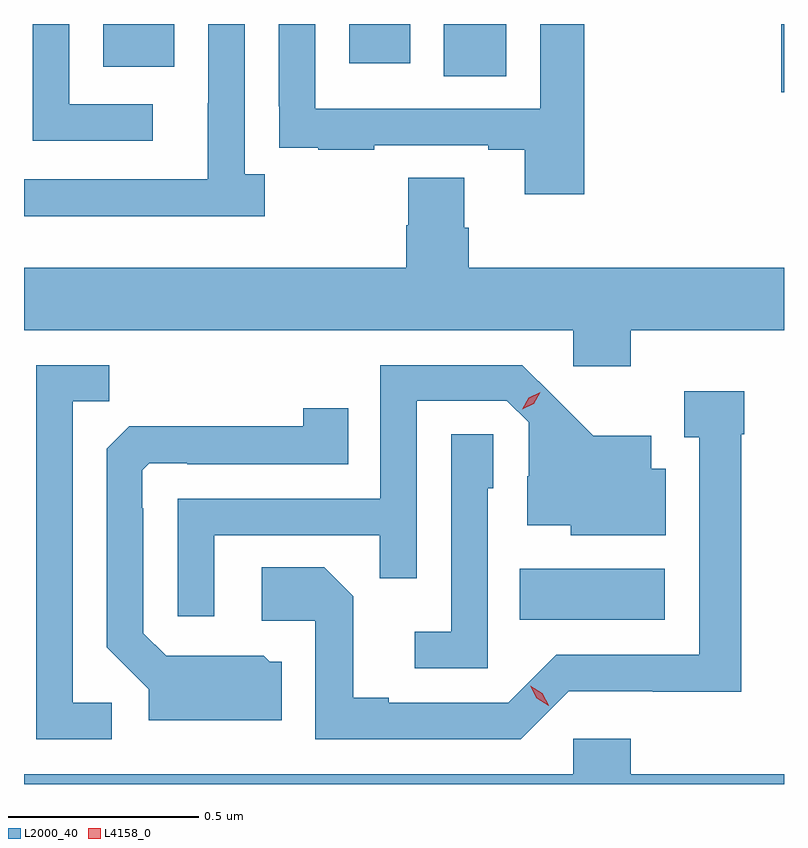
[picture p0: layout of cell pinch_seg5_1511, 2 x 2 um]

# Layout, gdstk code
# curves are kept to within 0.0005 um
import gdstk
lib = gdstk.Library(unit=1e-6, precision=1e-09)
def R(c, l, rs):  # rectangles x0, y0, x1, y1
    for r in rs: c.add(gdstk.rectangle(r[:2], r[2:], *l))
def P(c, l, *ps):  # polygons
    for p in ps: c.add(gdstk.Polygon(p, *l))
L2000_40 = (2000, 40)
L4158_0 = (4158, 0)

pinch_seg5_1511 = lib.new_cell('pinch_seg5_1511')
R(pinch_seg5_1511, L2000_40, [(134.704,891.962,135.085,892.096), (135.392,893.351,135.399,893.53), (134.504,893.392,134.668,893.53), (133.607,893.417,133.795,893.53), (134.255,893.427,134.416,893.53)])
P(pinch_seg5_1511, L2000_40, [(134.873,893.53),(134.757,893.53),(134.757,893.307),(134.166,893.307),(134.166,893.53),(134.07,893.53),(134.07,893.314),(134.071,893.314),(134.071,893.205),(134.173,893.205),(134.173,893.199),(134.321,893.199),(134.321,893.211),(134.621,893.211),(134.621,893.199),(134.717,893.199),(134.717,893.082),(134.873,893.082)],
  [(134.032,893.134),(133.98,893.134),(133.98,893.53),(133.884,893.53),(133.884,893.321),(133.883,893.321),(133.883,893.121),(133.399,893.121),(133.399,893.024),(134.032,893.024)],
  [(133.738,893.319),(133.518,893.319),(133.518,893.53),(133.422,893.53),(133.422,893.223),(133.738,893.223)],
  [(134.41,893.126),(134.41,893.001),(134.405,893.001),(134.405,892.888),(133.399,892.888),(133.399,892.724),(134.844,892.724),(134.844,892.629),(134.996,892.629),(134.996,892.724),(135.399,892.724),(135.399,892.888),(134.57,892.888),(134.57,892.994),(134.557,892.994),(134.557,893.126)],
  [(133.899,892.185),(134.335,892.185),(134.335,892.072),(134.433,892.072),(134.433,892.539),(134.67,892.539),(134.727,892.482),(134.727,892.34),(134.723,892.34),(134.723,892.211),(134.838,892.211),(134.838,892.184),(135.088,892.184),(135.088,892.36),(135.049,892.36),(135.049,892.447),(134.897,892.447),(134.71,892.632),(134.337,892.632),(134.337,892.281),(133.803,892.281),(133.803,891.972),(133.899,891.972)],
  [(133.63,891.744),(133.527,891.744),(133.527,892.537),(133.623,892.537),(133.623,892.632),(133.431,892.632),(133.431,891.648),(133.63,891.648)],
  [(134.832,891.774),(135.054,891.774),(135.054,891.773),(135.287,891.773),(135.287,892.451),(135.295,892.451),(135.295,892.564),(135.137,892.564),(135.137,892.443),(135.176,892.443),(135.176,891.87),(134.799,891.87),(134.673,891.744),(134.359,891.744),(134.359,891.757),(134.265,891.757),(134.265,892.024),(134.189,892.1),(134.025,892.1),(134.025,891.96),(134.166,891.96),(134.166,891.648),(134.706,891.648)],
  [(134.077,891.852),(134.046,891.852),(134.03,891.868),(133.896,891.868),(133.896,891.867),(133.773,891.867),(133.713,891.927),(133.713,892.256),(133.71,892.256),(133.71,892.356),(133.728,892.374),(133.828,892.374),(133.828,892.371),(134.252,892.371),(134.252,892.519),(134.134,892.519),(134.134,892.472),(133.777,892.472),(133.777,892.471),(133.676,892.471),(133.617,892.412),(133.617,891.89),(133.727,891.78),(133.727,891.698),(134.077,891.698)],
  [(134.619,892.308),(134.634,892.308),(134.634,892.451),(134.523,892.451),(134.523,891.931),(134.427,891.931),(134.427,891.834),(134.619,891.834)],
  [(135.399,891.556),(134.996,891.556),(134.996,891.649),(134.844,891.649),(134.844,891.556),(133.399,891.556),(133.399,891.53),(135.399,891.53)])
P(pinch_seg5_1511, L4158_0, [(134.78,891.736),(134.748,891.756),(134.731,891.788),(134.731,891.788),(134.731,891.788),(134.763,891.769),(134.78,891.737),(134.78,891.736)],
  [(134.71,892.516),(134.71,892.516),(134.727,892.546),(134.757,892.561),(134.758,892.561),(134.758,892.561),(134.741,892.531),(134.71,892.516)])

lib.write_gds('pinch_seg5_1511.gds')
